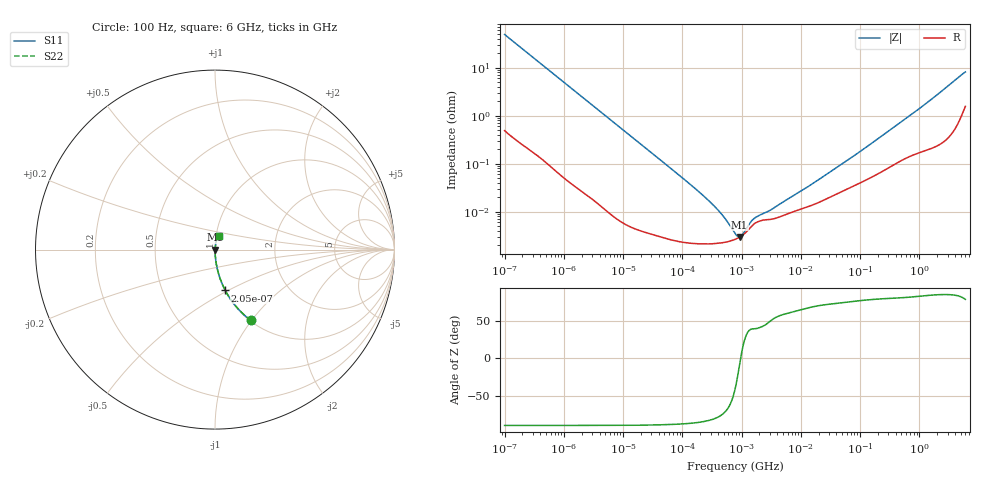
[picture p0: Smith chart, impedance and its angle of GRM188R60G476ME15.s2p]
!Murata Part Number: GRM188R60G476ME15
!These Parameters are Measured in Series Mode Connection
!Data Generated on Mar 30, 2021
!  o--ll--o
!Port1  Port2
!  o------o
!Operation Temp=25[degC], DC Bias Voltage=0[V]
!Freq. Start=100[Hz] Stop=6[GHz] 401[Steps]
# Hz S RI R 50
!Freq.(Hz) S11(Real) S11(Imag) S21(Real) S21(Imag) S12(Real) S12(Imag) S22(Real) S22(Imag)
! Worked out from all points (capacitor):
!   401 points, 100 Hz to 6 GHz, reference 50 ohm
!   read as one part in series: C = 32.2 uF near 109 Hz
!   lowest |Z| = 2.99 mohm at 926.5 kHz (marker M1)
!   series resonance near 962.8 kHz, so ESL is about 850 pH
!   S11 on the Smith chart (normalised r, x): 100 Hz: 1.01, -0.99; 205 Hz: 1.00, -0.48; 6 GHz: 1.03, +0.16
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100  0.1985 -0.394  0.8015 0.394  0.8015 0.394  0.1985 -0.394
143  0.1092 -0.3071  0.8908 0.3071  0.8908 0.3071  0.1092 -0.3071
205  0.0575 -0.2278  0.9425 0.2278  0.9425 0.2278  0.0575 -0.2278
320  0.0251 -0.1511  0.9749 0.1511  0.9749 0.1511  0.0251 -0.1511
548  0.00917 -0.0902  0.9908 0.0902  0.9908 0.0902  0.00917 -0.0902
981  0.00311 -0.0509  0.9969 0.0509  0.9969 0.0509  0.00311 -0.0509
2008  0.000892 -0.025  0.9991 0.025  0.9991 0.025  0.000892 -0.025
40335  3.22e-05 -0.00127  1 0.00127  1 0.00127  3.22e-05 -0.00127
176758  2.16e-05 -0.000282  1 0.000282  1 0.000282  2.16e-05 -0.000282
413847  2.21e-05 -0.000101  1 0.000101  1 0.000101  2.21e-05 -0.000101
473344  2.26e-05 -8.25e-05  1 8.25e-05  1 8.25e-05  2.26e-05 -8.25e-05
774597  2.65e-05 -2.34e-05  1 2.34e-05  1 2.34e-05  2.65e-05 -2.34e-05
926525  2.96e-05 -4.1e-06  1 4.1e-06  1 4.1e-06  2.96e-05 -4.1e-06
2481164  6.78e-05 6.67e-05  0.9999 -6.67e-05  0.9999 -6.67e-05  6.78e-05 6.67e-05
2837864  6.87e-05 7.61e-05  0.9999 -7.61e-05  0.9999 -7.61e-05  6.87e-05 7.61e-05
1.555665e7  0.000137 0.000354  0.9999 -0.000354  0.9999 -0.000354  0.000137 0.000354
7.455971e7  0.000337 0.00135  0.9997 -0.00135  0.9997 -0.00135  0.000337 0.00135
3.124326e8  0.000862 0.00486  0.9991 -0.00486  0.9991 -0.00486  0.000862 0.00486
8.749838e8  0.00175 0.0123  0.9983 -0.0123  0.9983 -0.0123  0.00175 0.0123
1.791126e9  0.00279 0.0243  0.9972 -0.0243  0.9972 -0.0243  0.00279 0.0243
5.016141e9  0.0137 0.0673  0.9863 -0.0673  0.9863 -0.0673  0.0137 0.0673
6e9  0.0216 0.0772  0.9784 -0.0772  0.9784 -0.0772  0.0216 0.0772
